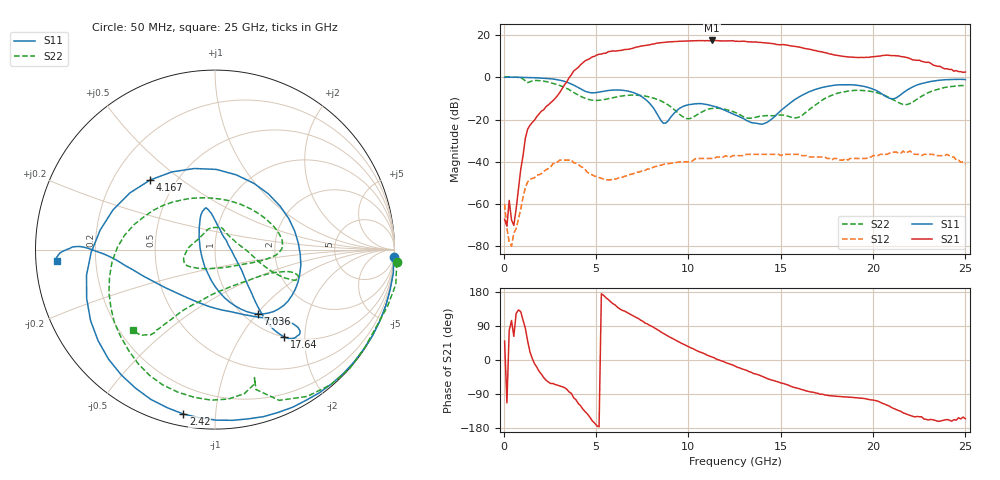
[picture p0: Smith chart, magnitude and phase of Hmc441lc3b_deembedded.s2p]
# MHZ S MA R 50
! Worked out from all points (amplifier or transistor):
!   201 points, 50 MHz to 25 GHz, reference 50 ohm
!   highest |S21| = 17.4 dB at 11.28 GHz (marker M1)
!   |S21| within 3 dB of that: 7.296 GHz to 15.91 GHz (8.611 GHz wide, 74.2 % of centre)
!   unconditionally stable (mu >= 1): 797.4 MHz to end of sweep
!   at 4.167 GHz: K = 20.53, MAG = 7.9 dB, |S12| = -42.2 dB
!   at 12.53 GHz: K = 4.90, MAG = 17.2 dB, |S12| = -37.1 dB
!   at 25 GHz: K = 5.00, MAG = 11.8 dB, |S12| = -41.0 dB
!   S11 on the Smith chart (normalised r, x): 50 MHz: 3, -48; 2.42 GHz: 0.06, -0.82; 4.167 GHz: 0.36, +0.39; 7.036 GHz: 1.15, -1.01; 17.64 GHz: 1.00, -1.58; 25 GHz: 0.06, -0.04
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50  0.997 -2.4  0.0004364 50.0  0.0009983 61.5  1.015 -4.0
424.25  1.002 -17.9  0.0004169 104.2  0.0001011 152.0  0.996 -26.1
1297.5  0.987 -53.9  0.059 50.1  0.003347 -116.0  0.746 -72.9
2420.25  0.933 -100.9  0.223 -58.2  0.00691 106.3  0.767 -123.9
3667.75  0.69 -178.8  1.151 -88.1  0.011 -26.8  0.471 162.7
4166.75  0.53 133.0  1.98 -120.8  0.00774 -69.8  0.355 131.9
4291.5  0.495 119.0  2.198 -129.9  0.007283 -77.9  0.333 123.8
5040  0.436 33.8  3.345 -173.4  0.004476 -106.1  0.283 75.3
5663.75  0.486 -10.3  4.035 159.6  0.003742 -111.4  0.311 41.9
7036  0.431 -56.4  4.908 116.1  0.005253 -113.4  0.377 5.7
8408.25  0.115 -118.8  6.468 77.6  0.008149 -126.4  0.289 -10.9
10030  0.225 108.0  7.28 34.6  0.01 -142.3  0.104 -89.8
11277.5  0.211 97.2  7.409 7.9  0.012 -149.8  0.183 -152.8
12525  0.129 81.7  7.076 -16.1  0.014 -153.5  0.148 176.0
14396.25  0.094 -5.3  6.372 -51.1  0.015 -158.4  0.123 94.9
15643.75  0.271 -47.4  5.456 -71.2  0.015 -160.0  0.111 54.2
16766.5  0.494 -54.1  4.349 -85.0  0.013 -158.6  0.202 -7.5
17639.75  0.62 -51.6  3.552 -94.3  0.012 -154.0  0.355 -21.4
19511  0.608 -43.4  2.924 -101.5  0.012 -142.9  0.483 -17.3
20883.25  0.32 -95.2  3.292 -121.5  0.016 -147.4  0.328 -24.1
22754.5  0.73 178.9  2.313 -155.7  0.015 -167.0  0.381 -117.6
25000  0.883 -175.9  1.327 -154.9  0.008876 -167.2  0.638 -135.4
